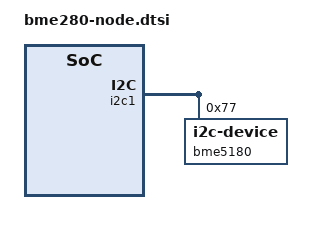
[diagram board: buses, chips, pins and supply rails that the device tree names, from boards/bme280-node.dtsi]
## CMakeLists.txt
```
# SPDX-License-Identifier: Apache-2.0

cmake_minimum_required(VERSION 3.20.0)
find_package(Zephyr REQUIRED HINTS $ENV{ZEPHYR_BASE})
project(blinky)

target_sources(app PRIVATE src/main.c)
target_sources(app PRIVATE bme280_raw/bme280_raw.c)
target_include_directories(app PRIVATE bme280_raw)

if(CONFIG_SUM_PRINT)
    target_sources(app PRIVATE sum_printk/sum_printk.c)
    target_include_directories(app PRIVATE sum_printk)
elseif(CONFIG_SUM_LOG)
    target_sources(app PRIVATE sum_log/sum_log.c)
    target_include_directories(app PRIVATE sum_log)
endif()
```

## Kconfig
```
mainmenu "Lab 0 application"

source "Kconfig.zephyr"

choice SUM_IMPLEMENTATION
	prompt "Sum output implementation"
	default SUM_PRINT

config SUM_PRINT
	bool "Use printk"

config SUM_LOG
	bool "Use the Zephyr logger"
	depends on LOG

endchoice
```

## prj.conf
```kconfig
CONFIG_GPIO=y
# Keep the application address aligned with the board overlay's flash layout.
CONFIG_USE_DT_CODE_PARTITION=y
CONFIG_SERIAL=y
CONFIG_CONSOLE=y
CONFIG_UART_CONSOLE=y
CONFIG_PRINTK=y
CONFIG_BOOT_BANNER=y
CONFIG_LOG=y
CONFIG_LOG_DEFAULT_LEVEL=3
CONFIG_LOG_MODE_DEFERRED=y
CONFIG_LOG_BACKEND_UART=y
CONFIG_SUM_LOG=y
CONFIG_I2C=y
CONFIG_SENSOR=y
# UART1 and I2C1 share peripheral instance 1. Release TF-M's secure UART
# so the non-secure application can use I2C1. UART0 console remains enabled.
CONFIG_TFM_LOG_LEVEL_SILENCE=y
CONFIG_TFM_SECURE_UART=n
```

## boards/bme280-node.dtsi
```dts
/* Shared by the real board and the laptop test's mock I2C bus. */
&i2c1 {
    bme5180: bme280@77 {
        compatible = "i2c-device";
        status = "okay";
        reg = <0x77>;
    };
};
```

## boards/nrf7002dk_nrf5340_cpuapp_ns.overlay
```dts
/ {
    aliases {
        led5180 = &led1;
        button5180 = &button0;
    };
};

#include "bme280-node.dtsi"

&i2c1 {
    status = "okay";
    clock-frequency = <100000>;
    pinctrl-0 = <&i2c1_default>;
    pinctrl-1 = <&i2c1_sleep>;
    pinctrl-names = "default", "sleep";
};

&i2c1_default {
    group1 {
        psels = <NRF_PSEL(TWIM_SCL, 1, 14)>,
                <NRF_PSEL(TWIM_SDA, 1, 15)>;
    };
};

&i2c1_sleep {
    group1 {
        psels = <NRF_PSEL(TWIM_SCL, 1, 14)>,
                <NRF_PSEL(TWIM_SDA, 1, 15)>;
        low-power-enable;
    };
};

/* No MCUboot is built: TF-M must start at the CPU reset address, 0. */
/delete-node/ &boot_partition;
/delete-node/ &slot0_partition;

&flash0 {
    partitions {
        slot0_partition: partition@0 {
            compatible = "zephyr,mapped-partition";
            label = "image-0";
            reg = <0x0 0x70000>;
            ranges = <0x0 0x0 0x70000>;
            #address-cells = <1>;
            #size-cells = <1>;

            slot0_s_partition: partition@0 {
                compatible = "zephyr,mapped-partition";
                label = "image-0-secure";
                reg = <0x0 0x40000>;
            };

            slot0_ns_partition: partition@40000 {
                compatible = "zephyr,mapped-partition";
                label = "image-0-nonsecure";
                reg = <0x40000 0x30000>;
            };
        };
    };
};
```

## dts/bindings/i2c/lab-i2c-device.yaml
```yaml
description: I2C peripheral accessed directly by the lab application
compatible: "i2c-device"
include: i2c-device.yaml
```

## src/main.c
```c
#include <zephyr/kernel.h>
#include <zephyr/logging/log.h>
#include "bme280_raw.h"

LOG_MODULE_REGISTER(temperature_app, LOG_LEVEL_INF);

#define SENSOR_NODE DT_NODELABEL(bme5180)
BUILD_ASSERT(DT_NODE_HAS_STATUS(SENSOR_NODE, okay), "Enable the BME280 node");
BUILD_ASSERT(DT_ON_BUS(SENSOR_NODE, i2c), "BME280 must be on an I2C bus");

static struct bme280_raw sensor = {
	.bus = I2C_DT_SPEC_GET(SENSOR_NODE),
};

int main(void)
{
	k_sleep(K_SECONDS(2));
	LOG_INF("BME280: bus=%s address=0x%02x", sensor.bus.bus->name, sensor.bus.addr);

	int ret = bme280_raw_init(&sensor);

	if (ret < 0) {
		LOG_ERR("BME280 initialization failed (%d). Check power, wiring and I2C address.", ret);
		return 0;
	}
	LOG_INF("BME280 detected; factory temperature calibration loaded");

	while (1) {
		int32_t temperature;

		ret = bme280_raw_read_temperature(&sensor, &temperature);
		if (ret < 0) {
			LOG_ERR("Temperature read failed (%d)", ret);
		} else {
			int32_t magnitude = temperature < 0 ? -temperature : temperature;

			LOG_INF("Temperature: %s%d.%02d C", temperature < 0 ? "-" : "",
				(int)(magnitude / 100), (int)(magnitude % 100));
		}
		k_sleep(K_SECONDS(2));
	}
	return 0;
}
```
